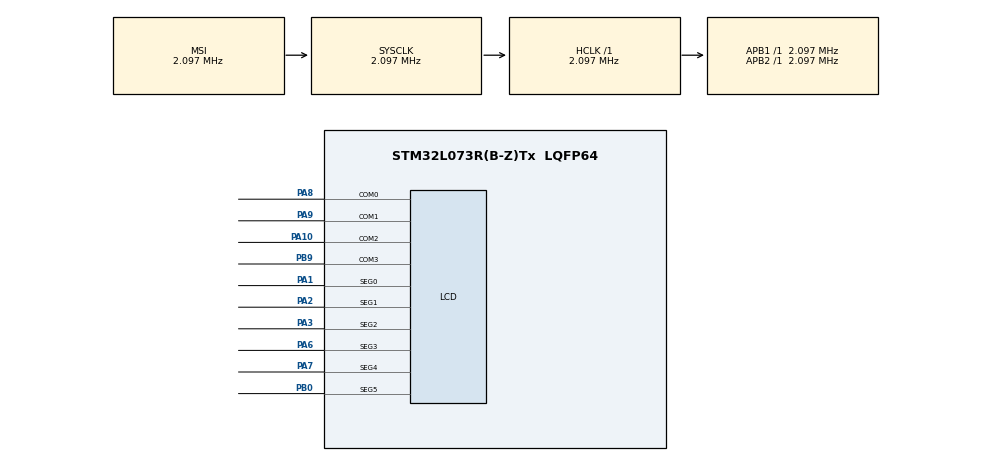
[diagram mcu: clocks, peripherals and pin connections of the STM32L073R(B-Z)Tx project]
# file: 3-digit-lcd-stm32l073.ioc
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LCD.Contrast=LCD_CONTRASTLEVEL_3
LCD.Divider=LCD_DIVIDER_16
LCD.Prescaler=LCD_PRESCALER_1
LCD.PulseOnDuration=LCD_PULSEONDURATION_7
Mcu.Family=STM32L0
Mcu.Name=STM32L073R(B-Z)Tx
Mcu.Package=LQFP64
PA1.Mode=SEG0
PA1.Signal=LCD_SEG0
PA10.Mode=1/4 Duty Cycle
PA10.Signal=LCD_COM2
PA2.Mode=SEG1
PA2.Signal=LCD_SEG1
PA3.Mode=SEG2
PA3.Signal=LCD_SEG2
PA6.Mode=SEG3
PA6.Signal=LCD_SEG3
PA7.Mode=SEG4
PA7.Signal=LCD_SEG4
PA8.Mode=1/4 Duty Cycle
PA8.Signal=LCD_COM0
PA9.Mode=1/4 Duty Cycle
PA9.Signal=LCD_COM1
PB0.Mode=SEG5
PB0.Signal=LCD_SEG5
PB9.Mode=1/4 Duty Cycle
PB9.Signal=LCD_COM3
ProjectManager.HeapSize=0x200
ProjectManager.StackSize=0x400
ProjectManager.TargetToolchain=Makefile
RCC.AHBFreq_Value=2097000
RCC.APB1Freq_Value=2097000
RCC.APB1TimFreq_Value=2097000
RCC.APB2Freq_Value=2097000
RCC.APB2TimFreq_Value=2097000
RCC.HSE_VALUE=8000000
RCC.HSI16_VALUE=16000000
RCC.HSI48_VALUE=48000000
RCC.HSI_VALUE=16000000
RCC.LSE_VALUE=32768
RCC.MSI_VALUE=2097000
RCC.SYSCLKFreq_VALUE=2097000
RCC.VCOOutputFreq_Value=48000000
VP_LCD_LCD_Bias.Mode=1/2 Bias
board=custom

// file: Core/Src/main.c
/* USER CODE BEGIN Header */
/**
  ******************************************************************************
  * @file           : main.c
  * @brief          : Main program body
  ******************************************************************************
  * @attention
  *
  * Copyright (c) 2025 STMicroelectronics.
  * All rights reserved.
  *
  * This software is licensed under terms that can be found in the LICENSE file
  * in the root directory of this software component.
  * If no LICENSE file comes with this software, it is provided AS-IS.
  *
  ******************************************************************************
  */
/* USER CODE END Header */
#include "main.h"

/* USER CODE BEGIN Includes */
#include "SEGGER_RTT.h"
/* USER CODE END Includes */

/* USER CODE BEGIN PTD */
typedef struct {
    uint8_t com;       // COM line (0 to 3)
    uint32_t bitmask;  // Bitmask for the SEG (1 << bit_pos)
} SegmentLocation;
/* USER CODE END PTD */

LCD_HandleTypeDef hlcd;

/* USER CODE BEGIN PV */
// Generated by reverse engineering:  documentation is incorrect.
SegmentLocation segment_map[3][7] = {
    // Digit 1 (rightmost)
    {
        {3, 1UL << 0}, {2, 1UL << 0}, {1, 1UL << 0},
        {0, 1UL << 1}, {1, 1UL << 1}, {3, 1UL << 1}, {2, 1UL << 1}
    },

    // Digit 2 (middle)
    {
        {3, 1UL << 2}, {2, 1UL << 2}, {1, 1UL << 2},
        {0, 1UL << 3}, {1, 1UL << 3}, {3, 1UL << 3}, {2, 1UL << 3}
    },

    // Digit 3 (leftmost)
    {
        {3, 1UL << 4}, {2, 1UL << 4}, {1, 1UL << 4},
        {0, 1UL << 5}, {1, 1UL << 5}, {3, 1UL << 5}, {2, 1UL << 5}
    }
};

const uint8_t digit_encoding[10] = {
    0b00111111, // 0: A B C D E F
    0b00000110, // 1:   B C
    0b01011011, // 2: A B   D E G
    0b01001111, // 3: A B C D   G
    0b01100110, // 4:   B C   F G
    0b01101101, // 5: A   C D   F G
    0b01111101, // 6: A   C D E F G
    0b00000111, // 7: A B C
    0b01111111, // 8: A B C D E F G
    0b01101111  // 9: A B C D   F G
};
uint8_t display_buffer[3] = {0};
/* USER CODE END PV */

void SystemClock_Config(void);
static void MX_GPIO_Init(void);
static void MX_LCD_Init(void);

/* USER CODE BEGIN 0 */
void extract_digits(uint16_t number) {
    // Extract digits (0-999)
    number %= 1000;
    display_buffer[2] = number / 100;        // Hundreds
    display_buffer[1] = (number / 10) % 10;  // Tens
    display_buffer[0] = number % 10;         // Units
}

void lcd_display_number(uint16_t value) {
    extract_digits(value);

    // Temporary buffers to hold combined data for each COM
    uint32_t data[4] = {0};  // COM0 to COM3
    uint32_t mask[4] = {0};

    HAL_LCD_Clear(&hlcd);
    for (int digit_index = 0; digit_index < 3; digit_index++) {
      uint8_t pattern = digit_encoding[display_buffer[digit_index]];
      // nuke prefix '0's
      if ((display_buffer[2] == 0 && digit_index == 2)
          || (display_buffer[2] == 0 && display_buffer[1] == 0 && digit_index == 1)) {
        pattern = 0;
      }
      for (int seg = 0; seg < 7; seg++) {
          SegmentLocation loc = segment_map[digit_index][seg];

          mask[loc.com] |= loc.bitmask;

          if (pattern & (1 << seg)) {
              data[loc.com] |= loc.bitmask;
          }
      }
    }

    // Write each COM only once
    for (int com = 0; com < 4; com++) {
        if (mask[com]) {
            SEGGER_RTT_printf(0, "writing COM%d: data=0x%08lx, mask=0x%08lx\n", com, data[com], mask[com]);
            HAL_LCD_Write(&hlcd, com * 2, mask[com], data[com]);
        }
    }

    // Update LCD
    HAL_LCD_UpdateDisplayRequest(&hlcd);
}
/* USER CODE END 0 */

int main(void)
{

  /* MCU Configuration--------------------------------------------------------*/

  /* Reset of all peripherals, Initializes the Flash interface and the Systick. */
  HAL_Init();

  /* Configure the system clock */
  SystemClock_Config();

  /* Initialize all configured peripherals */
  MX_GPIO_Init();
  MX_LCD_Init();
  /* USER CODE BEGIN 2 */
  SEGGER_RTT_printf(0, "Started...\n");
  /* USER CODE END 2 */

  /* Infinite loop */
  while (1)
  {

    /* USER CODE BEGIN 3 */
    for (int i=0; i<1000; i++) {
      SEGGER_RTT_printf(0, "i = 0x%x\n", i);
      lcd_display_number(i);
      HAL_Delay(100);
    }
  }
  /* USER CODE END 3 */
}

void SystemClock_Config(void)
{
  RCC_OscInitTypeDef RCC_OscInitStruct = {0};
  RCC_ClkInitTypeDef RCC_ClkInitStruct = {0};
  RCC_PeriphCLKInitTypeDef PeriphClkInit = {0};

  /** Configure the main internal regulator output voltage
  */
  __HAL_PWR_VOLTAGESCALING_CONFIG(PWR_REGULATOR_VOLTAGE_SCALE1);

  /** Initializes the RCC Oscillators according to the specified parameters
  * in the RCC_OscInitTypeDef structure.
  */
  RCC_OscInitStruct.OscillatorType = RCC_OSCILLATORTYPE_LSI|RCC_OSCILLATORTYPE_MSI;
  RCC_OscInitStruct.LSIState = RCC_LSI_ON;
  RCC_OscInitStruct.MSIState = RCC_MSI_ON;
  RCC_OscInitStruct.MSICalibrationValue = 0;
  RCC_OscInitStruct.MSIClockRange = RCC_MSIRANGE_5;
  RCC_OscInitStruct.PLL.PLLState = RCC_PLL_NONE;
  if (HAL_RCC_OscConfig(&RCC_OscInitStruct) != HAL_OK)
  {
    Error_Handler();
  }

  /** Initializes the CPU, AHB and APB buses clocks
  */
  RCC_ClkInitStruct.ClockType = RCC_CLOCKTYPE_HCLK|RCC_CLOCKTYPE_SYSCLK
                              |RCC_CLOCKTYPE_PCLK1|RCC_CLOCKTYPE_PCLK2;
  RCC_ClkInitStruct.SYSCLKSource = RCC_SYSCLKSOURCE_MSI;
  RCC_ClkInitStruct.AHBCLKDivider = RCC_SYSCLK_DIV1;
  RCC_ClkInitStruct.APB1CLKDivider = RCC_HCLK_DIV1;
  RCC_ClkInitStruct.APB2CLKDivider = RCC_HCLK_DIV1;

  if (HAL_RCC_ClockConfig(&RCC_ClkInitStruct, FLASH_LATENCY_0) != HAL_OK)
  {
    Error_Handler();
  }
  PeriphClkInit.PeriphClockSelection = RCC_PERIPHCLK_RTC;
  PeriphClkInit.RTCClockSelection = RCC_RTCCLKSOURCE_LSI;
  if (HAL_RCCEx_PeriphCLKConfig(&PeriphClkInit) != HAL_OK)
  {
    Error_Handler();
  }
}

static void MX_LCD_Init(void)
{

  hlcd.Instance = LCD;
  hlcd.Init.Prescaler = LCD_PRESCALER_1;
  hlcd.Init.Divider = LCD_DIVIDER_16;
  hlcd.Init.Duty = LCD_DUTY_1_4;
  hlcd.Init.Bias = LCD_BIAS_1_2;
  hlcd.Init.VoltageSource = LCD_VOLTAGESOURCE_INTERNAL;
  hlcd.Init.Contrast = LCD_CONTRASTLEVEL_3;
  hlcd.Init.DeadTime = LCD_DEADTIME_0;
  hlcd.Init.PulseOnDuration = LCD_PULSEONDURATION_7;
  hlcd.Init.HighDrive = LCD_HIGHDRIVE_0;
  hlcd.Init.BlinkMode = LCD_BLINKMODE_OFF;
  hlcd.Init.BlinkFrequency = LCD_BLINKFREQUENCY_DIV8;
  hlcd.Init.MuxSegment = LCD_MUXSEGMENT_DISABLE;
  if (HAL_LCD_Init(&hlcd) != HAL_OK)
  {
    Error_Handler();
  }

}

static void MX_GPIO_Init(void)
{

  /* GPIO Ports Clock Enable */
  __HAL_RCC_GPIOA_CLK_ENABLE();
  __HAL_RCC_GPIOB_CLK_ENABLE();

}

void Error_Handler(void)
{
  __disable_irq();
  while (1)
  {
  }
}
